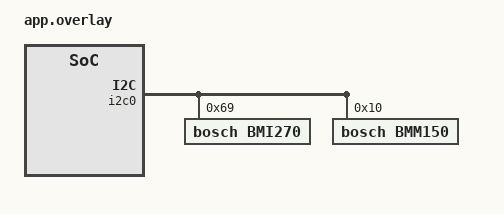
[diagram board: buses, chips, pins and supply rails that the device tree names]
/*
 * Copyright (c) 2021 Bosch Sensortec GmbH
 *
 * SPDX-License-Identifier: Apache-2.0
 */

&i2c0 {
	bmi270: bmi270@69 {
		compatible = "bosch,bmi270";
		reg = <0x69>;
	};

	bmm150: bmm150@10 {
		compatible = "bosch,bmm150";
		status = "okay";
		reg = <0x10>;
	};
};

// &arduino_i2c {
// 	status = "okay";

// 	bmi270@68 {
// 		compatible = "bosch,bmi270";
// 		reg = <0x68>;
// 	};
// };
